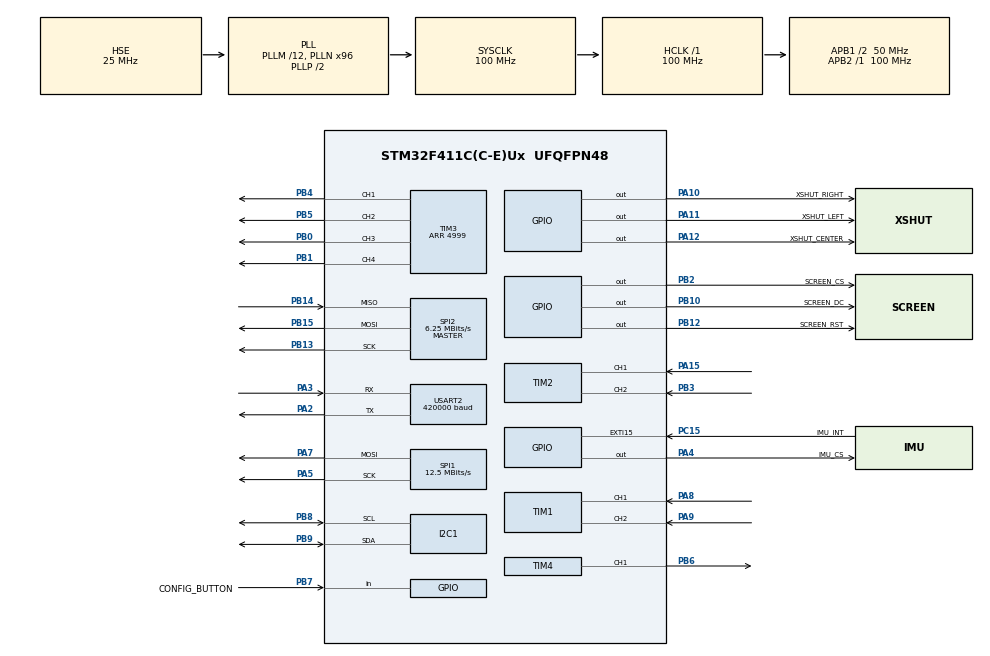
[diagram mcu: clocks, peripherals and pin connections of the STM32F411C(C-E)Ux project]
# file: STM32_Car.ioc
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Dma.Request0=USART2_RX
Dma.Request1=SPI2_RX
Dma.Request2=SPI2_TX
Dma.Request3=SPI1_TX
Dma.SPI1_TX.3.Direction=DMA_MEMORY_TO_PERIPH
Dma.SPI1_TX.3.FIFOMode=DMA_FIFOMODE_DISABLE
Dma.SPI1_TX.3.Instance=DMA2_Stream2
Dma.SPI1_TX.3.MemDataAlignment=DMA_MDATAALIGN_BYTE
Dma.SPI1_TX.3.MemInc=DMA_MINC_ENABLE
Dma.SPI1_TX.3.Mode=DMA_NORMAL
Dma.SPI1_TX.3.PeriphDataAlignment=DMA_PDATAALIGN_BYTE
Dma.SPI1_TX.3.PeriphInc=DMA_PINC_DISABLE
Dma.SPI1_TX.3.Priority=DMA_PRIORITY_LOW
Dma.SPI2_RX.1.Direction=DMA_PERIPH_TO_MEMORY
Dma.SPI2_RX.1.FIFOMode=DMA_FIFOMODE_DISABLE
Dma.SPI2_RX.1.Instance=DMA1_Stream3
Dma.SPI2_RX.1.MemDataAlignment=DMA_MDATAALIGN_BYTE
Dma.SPI2_RX.1.MemInc=DMA_MINC_ENABLE
Dma.SPI2_RX.1.Mode=DMA_NORMAL
Dma.SPI2_RX.1.PeriphDataAlignment=DMA_PDATAALIGN_BYTE
Dma.SPI2_RX.1.PeriphInc=DMA_PINC_DISABLE
Dma.SPI2_RX.1.Priority=DMA_PRIORITY_LOW
Dma.SPI2_TX.2.Direction=DMA_MEMORY_TO_PERIPH
Dma.SPI2_TX.2.FIFOMode=DMA_FIFOMODE_DISABLE
Dma.SPI2_TX.2.Instance=DMA1_Stream4
Dma.SPI2_TX.2.MemDataAlignment=DMA_MDATAALIGN_BYTE
Dma.SPI2_TX.2.MemInc=DMA_MINC_ENABLE
Dma.SPI2_TX.2.Mode=DMA_NORMAL
Dma.SPI2_TX.2.PeriphDataAlignment=DMA_PDATAALIGN_BYTE
Dma.SPI2_TX.2.PeriphInc=DMA_PINC_DISABLE
Dma.SPI2_TX.2.Priority=DMA_PRIORITY_LOW
Dma.USART2_RX.0.Direction=DMA_PERIPH_TO_MEMORY
Dma.USART2_RX.0.FIFOMode=DMA_FIFOMODE_DISABLE
Dma.USART2_RX.0.Instance=DMA1_Stream5
Dma.USART2_RX.0.MemDataAlignment=DMA_MDATAALIGN_BYTE
Dma.USART2_RX.0.MemInc=DMA_MINC_ENABLE
Dma.USART2_RX.0.Mode=DMA_CIRCULAR
Dma.USART2_RX.0.PeriphDataAlignment=DMA_PDATAALIGN_BYTE
Dma.USART2_RX.0.PeriphInc=DMA_PINC_DISABLE
Dma.USART2_RX.0.Priority=DMA_PRIORITY_LOW
Mcu.Family=STM32F4
Mcu.Name=STM32F411C(C-E)Ux
Mcu.Package=UFQFPN48
NVIC.DMA1_Stream3_IRQn=true\:0\:0\:false\:false\:true\:false\:true\:true
NVIC.DMA1_Stream4_IRQn=true\:0\:0\:false\:false\:true\:false\:true\:true
NVIC.DMA1_Stream5_IRQn=true\:0\:0\:false\:false\:true\:false\:true\:true
NVIC.DMA2_Stream2_IRQn=true\:0\:0\:false\:false\:true\:false\:true\:true
NVIC.PriorityGroup=NVIC_PRIORITYGROUP_4
PA10.GPIO_Label=XSHUT_RIGHT
PA10.Signal=GPIO_Output
PA11.GPIO_Label=XSHUT_LEFT
PA11.Signal=GPIO_Output
PA12.GPIO_Label=XSHUT_CENTER
PA12.Signal=GPIO_Output
PA13.Mode=Serial_Wire
PA13.Signal=SYS_JTMS-SWDIO
PA14.Mode=Serial_Wire
PA14.Signal=SYS_JTCK-SWCLK
PA15.Signal=S_TIM2_CH1_ETR
PA2.Mode=Asynchronous
PA2.Signal=USART2_TX
PA3.Mode=Asynchronous
PA3.Signal=USART2_RX
PA4.GPIO_Label=IMU_CS
PA4.Signal=GPIO_Output
PA5.Mode=TX_Only_Simplex_Unidirect_Master
PA5.Signal=SPI1_SCK
PA7.Mode=TX_Only_Simplex_Unidirect_Master
PA7.Signal=SPI1_MOSI
PA8.Signal=S_TIM1_CH1
PA9.Signal=S_TIM1_CH2
PB0.Signal=S_TIM3_CH3
PB1.Signal=S_TIM3_CH4
PB10.GPIO_Label=SCREEN_DC
PB10.Signal=GPIO_Output
PB12.GPIO_Label=SCREEN_RST
PB12.Signal=GPIO_Output
PB13.Mode=Full_Duplex_Master
PB13.Signal=SPI2_SCK
PB14.Mode=Full_Duplex_Master
PB14.Signal=SPI2_MISO
PB15.Mode=Full_Duplex_Master
PB15.Signal=SPI2_MOSI
PB2.GPIO_Label=SCREEN_CS
PB2.Signal=GPIO_Output
PB3.Signal=S_TIM2_CH2
PB4.Signal=S_TIM3_CH1
PB5.Signal=S_TIM3_CH2
PB6.Signal=S_TIM4_CH1
PB7.GPIO_Label=CONFIG_BUTTON
PB7.GPIO_PuPd=GPIO_PULLUP
PB7.Signal=GPIO_Input
PB8.Mode=I2C
PB8.Signal=I2C1_SCL
PB9.Mode=I2C
PB9.Signal=I2C1_SDA
PC15-OSC32_OUT.GPIO_Label=IMU_INT
PC15-OSC32_OUT.Signal=GPXTI15
PH0\ -\ OSC_IN.Mode=HSE-External-Oscillator
PH0\ -\ OSC_IN.Signal=RCC_OSC_IN
PH1\ -\ OSC_OUT.Mode=HSE-External-Oscillator
PH1\ -\ OSC_OUT.Signal=RCC_OSC_OUT
ProjectManager.HeapSize=0x200
ProjectManager.StackSize=0x400
ProjectManager.TargetToolchain=STM32CubeIDE
RCC.48MHZClocksFreq_Value=50000000
RCC.AHBFreq_Value=100000000
RCC.APB1CLKDivider=RCC_HCLK_DIV2
RCC.APB1Freq_Value=50000000
RCC.APB1TimFreq_Value=100000000
RCC.APB2Freq_Value=100000000
RCC.APB2TimFreq_Value=100000000
RCC.CortexFreq_Value=100000000
RCC.HCLKFreq_Value=100000000
RCC.HSE_VALUE=25000000
RCC.HSI_VALUE=16000000
RCC.LSE_VALUE=32768
RCC.PLLM=12
RCC.PLLN=96
RCC.PLLSourceVirtual=RCC_PLLSOURCE_HSE
RCC.SYSCLKFreq_VALUE=100000000
RCC.SYSCLKSource=RCC_SYSCLKSOURCE_PLLCLK
RCC.VCOOutputFreq_Value=200000000
SH.S_TIM1_CH1.0=TIM1_CH1,Encoder_Interface
SH.S_TIM1_CH2.0=TIM1_CH2,Encoder_Interface
SH.S_TIM2_CH1_ETR.0=TIM2_CH1,Encoder_Interface
SH.S_TIM2_CH2.0=TIM2_CH2,Encoder_Interface
SH.S_TIM3_CH1.0=TIM3_CH1,PWM Generation1 CH1
SH.S_TIM3_CH2.0=TIM3_CH2,PWM Generation2 CH2
SH.S_TIM3_CH3.0=TIM3_CH3,PWM Generation3 CH3
SH.S_TIM3_CH4.0=TIM3_CH4,PWM Generation4 CH4
SH.S_TIM4_CH1.0=TIM4_CH1,PWM Generation1 CH1
SPI1.BaudRatePrescaler=SPI_BAUDRATEPRESCALER_8
SPI1.CalculateBaudRate=12.5 MBits/s
SPI1.Direction=SPI_DIRECTION_2LINES
SPI1.Mode=SPI_MODE_MASTER
SPI1.VirtualType=VM_MASTER
SPI2.BaudRatePrescaler=SPI_BAUDRATEPRESCALER_8
SPI2.CalculateBaudRate=6.25 MBits/s
SPI2.Direction=SPI_DIRECTION_2LINES
SPI2.Mode=SPI_MODE_MASTER
SPI2.VirtualType=VM_MASTER
TIM1.EncoderMode=TIM_ENCODERMODE_TI12
TIM2.EncoderMode=TIM_ENCODERMODE_TI12
TIM3.Channel-PWM\ Generation1\ CH1=TIM_CHANNEL_1
TIM3.Channel-PWM\ Generation2\ CH2=TIM_CHANNEL_2
TIM3.Channel-PWM\ Generation3\ CH3=TIM_CHANNEL_3
TIM3.Channel-PWM\ Generation4\ CH4=TIM_CHANNEL_4
TIM3.Period=4999
TIM4.Channel-PWM\ Generation1\ CH1=TIM_CHANNEL_1
TIM4.Period=19999
TIM4.Prescaler=99
USART2.BaudRate=420000
USART2.VirtualMode=VM_ASYNC
board=custom

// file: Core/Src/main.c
/* USER CODE BEGIN Header */
/**
 ******************************************************************************
 * @file           : main.c
 * @brief          : Main program body
 ******************************************************************************
 * @attention
 *
 * Copyright (c) 2026 STMicroelectronics.
 * All rights reserved.
 *
 * This software is licensed under terms that can be found in the LICENSE file
 * in the root directory of this software component.
 * If no LICENSE file comes with this software, it is provided AS-IS.
 *
 ******************************************************************************
 */
/* USER CODE END Header */
#include "main.h"
#include "dma.h"
#include "i2c.h"
#include "spi.h"
#include "tim.h"
#include "usart.h"
#include "gpio.h"

/* USER CODE BEGIN Includes */
#include "sh1107.h"
#include "debug_ui.h"
#include "crsf.h"
#include "main_fsm.h"
#include "motor.h"
#include "servo.h"
#include "rc_input.h"
#include "odometry.h"
#include "imu.h"
#include "vehicle_config.h"
#include "config_console.h"
#include <stdio.h>
/* USER CODE END Includes */

/* USER CODE BEGIN PTD */

typedef enum {
	APP_MODE_DRIVE = 0, APP_MODE_CONFIG
} AppMode_t;

/* USER CODE END PTD */

/* USER CODE BEGIN PD */

#define CONFIG_BUTTON_DEBOUNCE_MS 50U

/* USER CODE END PD */

/* USER CODE BEGIN PV */

static AppMode_t app_mode = APP_MODE_DRIVE;

/* USER CODE END PV */

void SystemClock_Config(void);
/* USER CODE BEGIN PFP */

static bool ConfigButton_IsPressed(void);
static void USART2_EnterConfigMode(void);

/* USER CODE END PFP */

/* USER CODE BEGIN 0 */

// Variables for DWT Profiling
uint32_t last_ui_update = 0;
uint32_t max_loop_time_us = 0;
uint32_t current_cycles = 0;
uint32_t current_loop_us = 0;

static bool ConfigButton_IsPressed(void) {
	if (HAL_GPIO_ReadPin(CONFIG_BUTTON_GPIO_Port, CONFIG_BUTTON_Pin)
			!= GPIO_PIN_RESET) {
		return false;
	}

	HAL_Delay(CONFIG_BUTTON_DEBOUNCE_MS);
	return HAL_GPIO_ReadPin(CONFIG_BUTTON_GPIO_Port, CONFIG_BUTTON_Pin)
			== GPIO_PIN_RESET;
}

static void USART2_EnterConfigMode(void) {
	HAL_UART_AbortReceive(&huart2);
	HAL_UART_DeInit(&huart2);

	huart2.Instance = USART2;
	huart2.Init.BaudRate = 115200;
	huart2.Init.WordLength = UART_WORDLENGTH_8B;
	huart2.Init.StopBits = UART_STOPBITS_1;
	huart2.Init.Parity = UART_PARITY_NONE;
	huart2.Init.Mode = UART_MODE_TX_RX;
	huart2.Init.HwFlowCtl = UART_HWCONTROL_NONE;
	huart2.Init.OverSampling = UART_OVERSAMPLING_16;

	if (HAL_UART_Init(&huart2) != HAL_OK) {
		Error_Handler();
	}
}

/* USER CODE END 0 */

int main(void) {

	/* MCU Configuration--------------------------------------------------------*/

	/* Reset of all peripherals, Initializes the Flash interface and the Systick. */
	HAL_Init();

	/* Configure the system clock */
	SystemClock_Config();

	/* Initialize all configured peripherals */
	MX_GPIO_Init();
	MX_DMA_Init();
	MX_SPI1_Init();
	MX_TIM1_Init();
	MX_TIM2_Init();
	MX_TIM3_Init();
	MX_TIM4_Init();
	MX_USART2_UART_Init();
	MX_I2C1_Init();
	MX_SPI2_Init();
	/* USER CODE BEGIN 2 */

	app_mode = ConfigButton_IsPressed() ? APP_MODE_CONFIG : APP_MODE_DRIVE;
	ConfigStatus_t config_load_status = VehicleConfig_Load();

	SH1107_Init();
	DebugUI_Init();
	MainFSM_Init();
	RC_Input_Init();
	Motor_Init();
	Servo_Init();
  Odometry_Init();

	if (app_mode == APP_MODE_CONFIG) {
		static const uint8_t config_banner[] =
				"\r\nSTM32 Car configuration mode\r\n";

		Motor_SetPower(0, 0);
		Servo_Center();
		USART2_EnterConfigMode();
		HAL_UART_Transmit(&huart2, (uint8_t*) config_banner,
				sizeof(config_banner) - 1U, 100U);
		if (config_load_status != CONFIG_STATUS_OK) {
			char error_message[80];
			int length = snprintf(error_message, sizeof(error_message),
					"WARNING: %s; defaults loaded\r\n",
					VehicleConfig_StatusText(config_load_status));
			HAL_UART_Transmit(&huart2, (uint8_t *)error_message,
					(uint16_t)length, 100U);
		}
		ConfigConsole_Init(&huart2);
	} else {
		CRSF_Init();
	}

	// Enable DWT Counter for nanosecond precision profiling
	CoreDebug->DEMCR |= CoreDebug_DEMCR_TRCENA_Msk;
	DWT->CYCCNT = 0;
	DWT->CTRL |= DWT_CTRL_CYCCNTENA_Msk;

	uint32_t mcu_freq_mhz = HAL_RCC_GetHCLKFreq() / 1000000;
  uint32_t last_odom_update = HAL_GetTick();

  bool imu_alive = IMU_Init();
  uint8_t imu_id = IMU_GetWhoAmI();

	/* USER CODE END 2 */

	/* Infinite loop */
	/* USER CODE BEGIN WHILE */
	while (1) {
		uint32_t loop_start_cycle = DWT->CYCCNT;

		if (app_mode == APP_MODE_CONFIG) {
			ConfigConsole_Update();
			Motor_SetPower(0, 0);
			Servo_Center();

			if (HAL_GetTick() - last_ui_update >= UI_REFRESH_INTERVAL_MS) {
				if (!SH1107_IsBusy()) {
					last_ui_update = HAL_GetTick();
					DebugUI_Clear();
					DebugUI_PrintLine(0, "%s", ConfigConsole_GetDisplayTitle());
					DebugUI_PrintLine(2, "%s", ConfigConsole_GetDisplayLine());
					DebugUI_PrintLine(4, "UART2 115200 8N1");
					DebugUI_PrintLine(6, "MOTORS DISABLED");
					ConfigStatus_t current_config_status = VehicleConfig_GetLastStatus();
					if (current_config_status != CONFIG_STATUS_OK) {
						DebugUI_PrintLine(8, "BOOT: DEFAULTS");
						DebugUI_PrintLine(10, "%s", VehicleConfig_StatusText(current_config_status));
					}
					DebugUI_Show();
				}
			}
			continue;
		}

		bool new_rc_data = CRSF_Update();
		RC_Input_Update(new_rc_data);
		CRSF_UpdateFailsafe(HAL_GetTick());
		MainFSM_Update(new_rc_data);

  // HARDWARE ODOMETRY LAYER (Every 20ms = 50Hz)
  uint32_t now = HAL_GetTick();
  if (now - last_odom_update >= 20) {
	  /* Calculate actual time delta in seconds in case of slight jitter */
	  float dt = (float)(now - last_odom_update) / 1000.0f;
	  last_odom_update = now;

	  Odometry_Update(dt);
  }

		if (HAL_GetTick() - last_ui_update >= UI_REFRESH_INTERVAL_MS) {
			if (!SH1107_IsBusy()) {
				last_ui_update = HAL_GetTick();
				DebugUI_Clear();

				VehicleState_t current_vehicle_state = MainFSM_GetState();

				if (current_vehicle_state == STATE_WAITING) {
					DebugUI_PrintLine(0, "WAITING FOR ELRS...");
				} else if (current_vehicle_state == VEHICLE_CALIBRATING) {
					DebugUI_PrintLine(0, "CALIBRATING STICKS...");
				} else if (current_vehicle_state == STATE_ERROR) {
					DebugUI_PrintLine(0, "! STICK ERROR !");
					DebugUI_PrintLine(2, "CENTER STEERING");
					DebugUI_PrintLine(4, "AND DROP THROTTLE!");
				} else if (current_vehicle_state == STATE_READY) {
					uint16_t thr = MainFSM_GetOutput(CRSF_MAP_THROTTLE);
					uint16_t str = MainFSM_GetOutput(CRSF_MAP_STEERING);

					DebugUI_PrintLine(0, "LQ:%d%%  %ddBm", crsf.link_quality,
							crsf.rssi_dbm);
					DebugUI_PrintLine(1, "THR: %d", thr);
					DebugUI_StickSlider(0, 16, 128, 6, thr);
					DebugUI_PrintLine(3, "STR: %d", str);
					DebugUI_StickSlider(0, 32, 128, 6, str);

					DriveDirection_t current_dir = MainFSM_GetDirection();
					if (current_dir == DIR_FORWARD) {
						DebugUI_PrintLine(5, "DIR: FORWARD");
					} else if (current_dir == DIR_REVERSE) {
						DebugUI_PrintLine(5, "DIR: REVERSE");
					} else {
						DebugUI_PrintLine(5, "DIR: NEUTRAL (HOLD)");
					}

					DriveMode_t current_mode = MainFSM_GetMode();
					if (current_mode == MODE_MANUAL) {
						DebugUI_PrintLine(6, "MODE: MANUAL CONT");
					} else if (current_mode == MODE_RTH_DIRECT) {
						DebugUI_PrintLine(6, "MODE: RTH DIRECT");
					} else {
						DebugUI_PrintLine(6, "MODE: RTH BACKTRACE");
			}
			// Speed on weals
			int spd_L_cm = (int)(Odometry_GetSpeedLeft() * 100.0f);
			int spd_R_cm = (int)(Odometry_GetSpeedRight() * 100.0f);
			int dist_L_cm = (int)(Odometry_GetDistanceLeft() * 100.0f);
			int dist_R_cm = (int)(Odometry_GetDistanceRight() * 100.0f);

			/* Виводимо як звичайні цілі числа (%d) */
			DebugUI_PrintLine(7, "Spd L:%d  R:%d cm/s", spd_L_cm, spd_R_cm);
			DebugUI_PrintLine(8, "Dst L:%d  R:%d cm", dist_L_cm, dist_R_cm);

			if (imu_alive) {
			      DebugUI_PrintLine(9, "IMU: ALIVE!");
			      DebugUI_PrintLine(10, "ID: 0x%02X (OK)", imu_id);
			  } else {
			      DebugUI_PrintLine(9, "IMU: DEAD/ERROR");
			      DebugUI_PrintLine(10, "ID: 0x%02X", imu_id);
			      DebugUI_PrintLine(11, "Expected: 0xEA");
					  }
				}

				DebugUI_PrintLine(15, "Loop %d max %d", current_loop_us,
						max_loop_time_us);
				DebugUI_Show();
			}
			max_loop_time_us = 0;
		}

		current_cycles = DWT->CYCCNT - loop_start_cycle;
		current_loop_us = current_cycles / mcu_freq_mhz;
		if (current_loop_us > max_loop_time_us) {
			max_loop_time_us = current_loop_us;
		}

		/* USER CODE END WHILE */
	}
}

void SystemClock_Config(void) {
	RCC_OscInitTypeDef RCC_OscInitStruct = { 0 };
	RCC_ClkInitTypeDef RCC_ClkInitStruct = { 0 };

	/** Configure the main internal regulator output voltage
	 */
	__HAL_RCC_PWR_CLK_ENABLE();
	__HAL_PWR_VOLTAGESCALING_CONFIG(PWR_REGULATOR_VOLTAGE_SCALE1);

	/** Initializes the RCC Oscillators according to the specified parameters
	 * in the RCC_OscInitTypeDef structure.
	 */
	RCC_OscInitStruct.OscillatorType = RCC_OSCILLATORTYPE_HSE;
	RCC_OscInitStruct.HSEState = RCC_HSE_ON;
	RCC_OscInitStruct.PLL.PLLState = RCC_PLL_ON;
	RCC_OscInitStruct.PLL.PLLSource = RCC_PLLSOURCE_HSE;
	RCC_OscInitStruct.PLL.PLLM = 12;
	RCC_OscInitStruct.PLL.PLLN = 96;
	RCC_OscInitStruct.PLL.PLLP = RCC_PLLP_DIV2;
	RCC_OscInitStruct.PLL.PLLQ = 4;
	if (HAL_RCC_OscConfig(&RCC_OscInitStruct) != HAL_OK) {
		Error_Handler();
	}

	/** Initializes the CPU, AHB and APB buses clocks
	 */
	RCC_ClkInitStruct.ClockType = RCC_CLOCKTYPE_HCLK | RCC_CLOCKTYPE_SYSCLK
			| RCC_CLOCKTYPE_PCLK1 | RCC_CLOCKTYPE_PCLK2;
	RCC_ClkInitStruct.SYSCLKSource = RCC_SYSCLKSOURCE_PLLCLK;
	RCC_ClkInitStruct.AHBCLKDivider = RCC_SYSCLK_DIV1;
	RCC_ClkInitStruct.APB1CLKDivider = RCC_HCLK_DIV2;
	RCC_ClkInitStruct.APB2CLKDivider = RCC_HCLK_DIV1;

	if (HAL_RCC_ClockConfig(&RCC_ClkInitStruct, FLASH_LATENCY_3) != HAL_OK) {
		Error_Handler();
	}
}

/* USER CODE BEGIN 4 */

// !!! This triggers when a full CRSF packet arrives via DMA
void HAL_SPI_TxCpltCallback(SPI_HandleTypeDef *hspi) {
	if (hspi->Instance == SPI1) {
		// Push the screen state machine forward asynchronously
		SH1107_FSM_Step();
	}
}

void HAL_UART_ErrorCallback(UART_HandleTypeDef *huart) {
	if (huart->Instance == USART2 && app_mode == APP_MODE_DRIVE) {
		// Prevent permanent DMA lock up caused by Overrun Errors (ORE)
		HAL_UART_AbortReceive(huart);
		extern uint8_t crsf_rx_buffer[];
		HAL_UARTEx_ReceiveToIdle_DMA(&huart2, crsf_rx_buffer, 64);
	}
}

/* USER CODE END 4 */

void Error_Handler(void) {
	__disable_irq();
	while (1) {
	}
}
